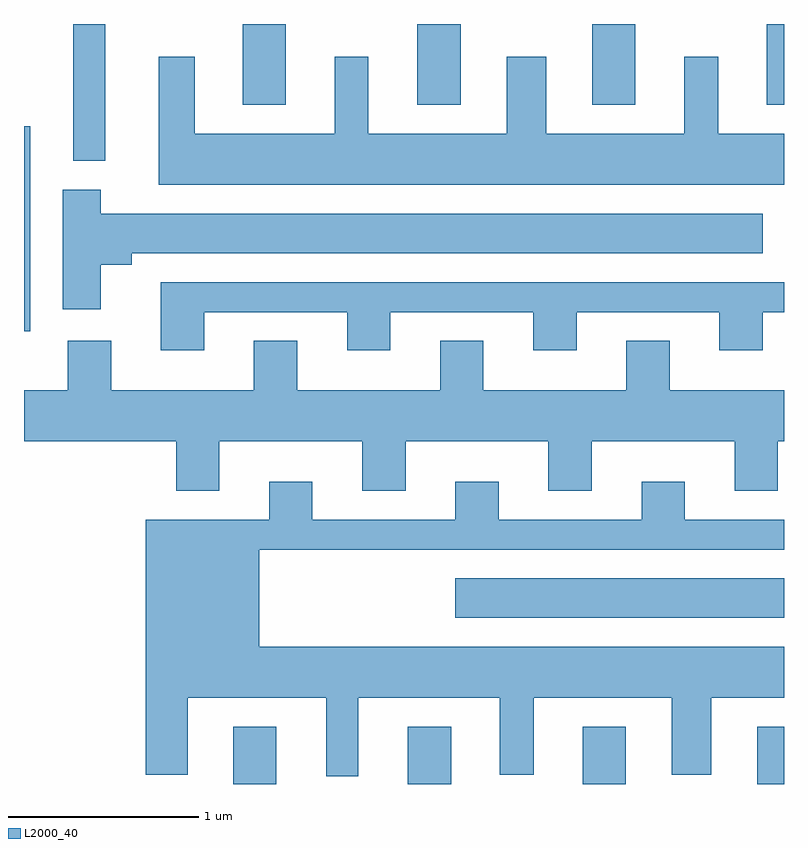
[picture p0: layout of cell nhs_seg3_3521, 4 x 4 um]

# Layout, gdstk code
import gdstk
lib = gdstk.Library(unit=1e-6, precision=1e-09)
def R(c, l, rs):  # rectangles x0, y0, x1, y1
    for r in rs: c.add(gdstk.rectangle(r[:2], r[2:], *l))
def A(c, l, x, y, w, h, nx, ny, dx, dy):  # array of equal rectangles
    R(c, l, [(x+i*dx, y+j*dy, x+i*dx+w, y+j*dy+h) for i in range(nx) for j in range(ny)])
def P(c, l, *ps):  # polygons
    for p in ps: c.add(gdstk.Polygon(p, *l))
L2000_40 = (2000, 40)

nhs_seg3_3521 = lib.new_cell('nhs_seg3_3521')
A(nhs_seg3_3521, L2000_40, 288.711, 1221.892, 0.228, 0.302, 3, 1, 0.92, 0)
A(nhs_seg3_3521, L2000_40, 288.761, 1225.466, 0.228, 0.426, 3, 1, 0.92, 0)
R(nhs_seg3_3521, L2000_40, [(291.471,1221.892,291.611,1222.194), (289.881,1222.766,291.611,1222.974), (287.611,1224.276,287.644,1225.354), (287.871,1225.173,288.039,1225.892), (291.521,1225.466,291.611,1225.892)])
P(nhs_seg3_3521, L2000_40, [(291.611,1225.314),(291.264,1225.314),(291.264,1225.719),(291.086,1225.719),(291.086,1225.314),(290.359,1225.314),(290.359,1225.719),(290.151,1225.719),(290.151,1225.314),(289.424,1225.314),(289.424,1225.719),(289.246,1225.719),(289.246,1225.314),(288.509,1225.314),(288.509,1225.719),(288.321,1225.719),(288.321,1225.046),(291.611,1225.046)],
  [(288.014,1224.626),(288.179,1224.626),(288.179,1224.686),(291.499,1224.686),(291.499,1224.894),(288.014,1224.894),(288.014,1225.019),(287.816,1225.019),(287.816,1224.391),(288.014,1224.391)],
  [(288.559,1224.376),(289.311,1224.376),(289.311,1224.176),(289.539,1224.176),(289.539,1224.376),(290.291,1224.376),(290.291,1224.176),(290.519,1224.176),(290.519,1224.376),(291.271,1224.376),(291.271,1224.176),(291.499,1224.176),(291.499,1224.376),(291.611,1224.376),(291.611,1224.534),(288.331,1224.534),(288.331,1224.176),(288.559,1224.176)],
  [(288.639,1223.696),(289.391,1223.696),(289.391,1223.436),(289.619,1223.436),(289.619,1223.696),(290.371,1223.696),(290.371,1223.436),(290.599,1223.436),(290.599,1223.696),(291.351,1223.696),(291.351,1223.436),(291.579,1223.436),(291.579,1223.696),(291.611,1223.696),(291.611,1223.964),(291.009,1223.964),(291.009,1224.224),(290.781,1224.224),(290.781,1223.964),(290.029,1223.964),(290.029,1224.224),(289.801,1224.224),(289.801,1223.964),(289.049,1223.964),(289.049,1224.224),(288.821,1224.224),(288.821,1223.964),(288.069,1223.964),(288.069,1224.224),(287.841,1224.224),(287.841,1223.964),(287.611,1223.964),(287.611,1223.696),(288.411,1223.696),(288.411,1223.436),(288.639,1223.436)],
  [(289.369,1222.346),(290.116,1222.346),(290.116,1221.941),(290.294,1221.941),(290.294,1222.346),(291.021,1222.346),(291.021,1221.941),(291.229,1221.941),(291.229,1222.346),(291.611,1222.346),(291.611,1222.614),(288.849,1222.614),(288.849,1223.126),(291.611,1223.126),(291.611,1223.284),(291.089,1223.284),(291.089,1223.484),(290.861,1223.484),(290.861,1223.284),(290.109,1223.284),(290.109,1223.484),(289.881,1223.484),(289.881,1223.284),(289.129,1223.284),(289.129,1223.484),(288.901,1223.484),(288.901,1223.284),(288.251,1223.284),(288.251,1221.941),(288.474,1221.941),(288.474,1222.346),(289.201,1222.346),(289.201,1221.933),(289.369,1221.933)])

lib.write_gds('nhs_seg3_3521.gds')
